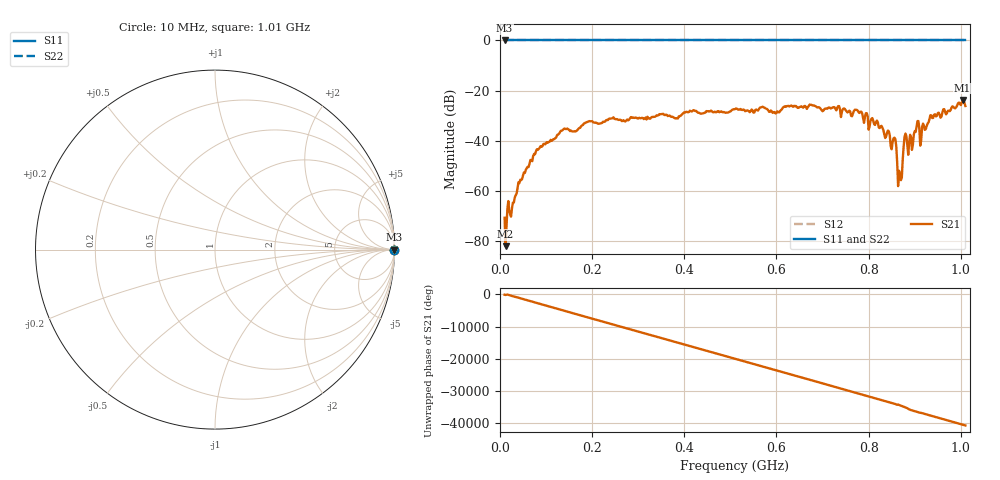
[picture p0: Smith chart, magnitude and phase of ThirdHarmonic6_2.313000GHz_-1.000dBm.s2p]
! 8/17/2025 3:13:40 AM
! C:\ANRITSUVNA\TEMP\TEMP.S2P
! CHANNEL.1
! TR.MEASUREMENT
! RAW.DATA
! RF.CORRECTION.OFF
! AVERAGING.OFF
! IF.BANDWIDTH: 5KHZ
! SWEEPTYPE:  FREQ.SWEEP(Linear)
! Reference Plane Port Info
! PORT:  PORT1  PORT2
! DISTANCE:  0  m  0  m
! TIME:  0  s  0  s
! PHASE.OFFSET:  0  deg.  0  deg.
! LOSS:  0  dB  0  dB
! REF.LOSS:  0  dB  0  dB
! REF.FREQ:  0  Hz  0  Hz
! Power Info
! POWER:  -20  dBm  -20  dBm
! EFF.POWER:  -20  dBm  -20  dBm
! SOURCE.ATTEN:  0  dB  0  dB
! TEST.ATTEN:  0  dB  0  dB
# GHZ S RI R 50.0
! FREQ.GHZ  S11RE  S11IM  S21RE  S21IM  S12RE  S12IM  S22RE  S22IM
!; PortSelection: Port_12
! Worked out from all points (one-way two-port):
!   501 points, 10 MHz to 1.01 GHz, reference 50 ohm
!   highest |S21| = -23.76 dB at 1.004 GHz (marker M1); lowest = -82.0 dB at 12 MHz (marker M2)
!   lowest |S11| = 0.0 dB at 10 MHz (marker M3)
!   |S11| at or under -10 dB: nowhere
!   |S22| runs from 0.0 to 0.0 dB; largest |S21 - S12| = 1.1
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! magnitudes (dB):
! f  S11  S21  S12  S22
! 10 MHz  0.0  -70.7  0.0  0.0
! 12 MHz  0.0  -82.0  0.0  0.0
! 26 MHz  0.0  -66.9  0.0  0.0
! 42 MHz  0.0  -56.9  0.0  0.0
! 78 MHz  0.0  -44.2  0.0  0.0
! 136 MHz  0.0  -35.7  0.0  0.0
! 178 MHz  0.0  -33.9  0.0  0.0
! 344 MHz  0.0  -29.8  0.0  0.0
! 510 MHz  0.0  -27.4  0.0  0.0
! 596 MHz  0.0  -28.6  0.0  0.0
! 678 MHz  0.0  -25.9  0.0  0.0
! 774 MHz  0.0  -27.7  0.0  0.0
! 844 MHz  0.0  -36.3  0.0  0.0
! 856 MHz  0.0  -38.8  0.0  0.0
! 868 MHz  0.0  -53.4  0.0  0.0
! 880 MHz  0.0  -37.1  0.0  0.0
! 890 MHz  0.0  -37.6  0.0  0.0
! 904 MHz  0.0  -34.5  0.0  0.0
! 914 MHz  0.0  -40.0  0.0  0.0
! 938 MHz  0.0  -31.0  0.0  0.0
! 1.004 GHz  0.0  -23.8  0.0  0.0
! 1.01 GHz  0.0  -26.1  0.0  0.0
